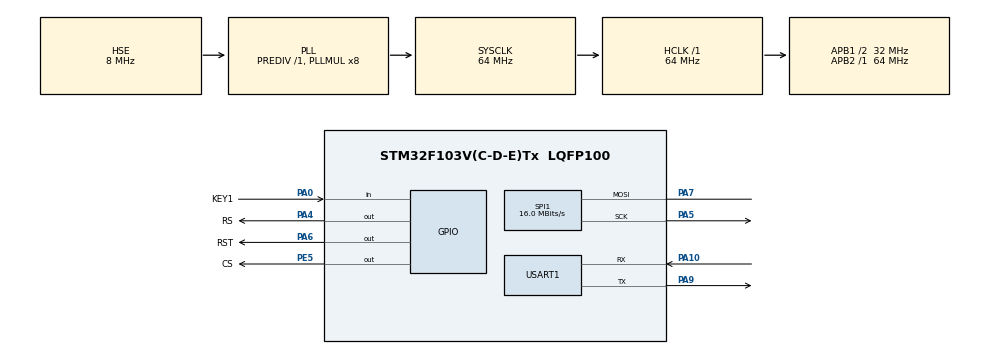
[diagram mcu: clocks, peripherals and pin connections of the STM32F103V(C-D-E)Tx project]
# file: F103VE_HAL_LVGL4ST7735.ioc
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Mcu.Family=STM32F1
RCC.PLLSourceVirtual=RCC_PLLSOURCE_HSE
PA7.Mode=Simplex_Bidirectional_Master
NVIC.DMA1_Channel5_IRQn=true\:0\:0\:false\:false\:true\:false\:true
Dma.USART1_RX.0.PeriphDataAlignment=DMA_PDATAALIGN_BYTE
PA10.Mode=Asynchronous
SPI1.VirtualType=VM_MASTER
PA6.GPIO_Label=RST
RCC.APB1CLKDivider=RCC_HCLK_DIV2
RCC.SYSCLKSource=RCC_SYSCLKSOURCE_PLLCLK
ProjectManager.StackSize=0x800
PA0-WKUP.GPIO_Label=KEY1
PA0-WKUP.Signal=GPIO_Input
PA13.Signal=SYS_JTMS-SWDIO
PA9.Mode=Asynchronous
ProjectManager.TargetToolchain=MDK-ARM V5.27
SPI1.Direction=SPI_DIRECTION_1LINE
Dma.USART1_RX.0.Direction=DMA_PERIPH_TO_MEMORY
RCC.HCLKFreq_Value=64000000
RCC.APB2TimFreq_Value=64000000
PA9.Signal=USART1_TX
SPI1.CalculateBaudRate=16.0 MBits/s
PE5.Signal=GPIO_Output
OSC_IN.Signal=RCC_OSC_IN
RCC.USBFreq_Value=64000000
OSC_OUT.Mode=HSE-External-Oscillator
OSC_OUT.Signal=RCC_OSC_OUT
RCC.AHBFreq_Value=64000000
Dma.USART1_RX.0.PeriphInc=DMA_PINC_DISABLE
Dma.USART1_RX.0.Priority=DMA_PRIORITY_MEDIUM
PA5.Signal=SPI1_SCK
PA4.GPIO_PuPd=GPIO_NOPULL
PB3.Mode=JTAG_5_pins
board=custom
PA15.Mode=JTAG_5_pins
RCC.PLLMUL=RCC_PLL_MUL8
RCC.APB2Freq_Value=64000000
PB4.Mode=JTAG_5_pins
VP_TIM2_VS_ClockSourceINT.Mode=Internal
SPI1.Mode=SPI_MODE_MASTER
PA14.Mode=JTAG_5_pins
NVIC.TIM2_IRQn=true\:0\:0\:false\:false\:true\:true\:true
PA0-WKUP.GPIO_Mode=GPIO_MODE_INPUT
Dma.USART1_RX.0.MemDataAlignment=DMA_MDATAALIGN_BYTE
TIM2.Period=50
Dma.USART1_RX.0.MemInc=DMA_MINC_ENABLE
PA13.Mode=JTAG_5_pins
Mcu.Name=STM32F103V(C-D-E)Tx
PB3.Signal=SYS_JTDO-TRACESWO
PA4.Signal=GPIO_Output
RCC.SYSCLKFreq_VALUE=64000000
Mcu.Package=LQFP100
TIM2.Prescaler=6399
PA6.Signal=GPIO_Output
OSC_IN.Mode=HSE-External-Oscillator
PE5.GPIO_Label=CS
USART1.VirtualMode=VM_ASYNC
PA10.Signal=USART1_RX
PA14.Signal=SYS_JTCK-SWCLK
PA15.Signal=SYS_JTDI
ProjectManager.HeapSize=0x400
PA4.GPIO_ModeDefaultOutputPP=GPIO_MODE_OUTPUT_PP
NVIC.PriorityGroup=NVIC_PRIORITYGROUP_3
RCC.APB1TimFreq_Value=64000000
PA0-WKUP.GPIO_PuPd=GPIO_PULLDOWN
Dma.USART1_RX.0.Mode=DMA_NORMAL
NVIC.USART1_IRQn=true\:2\:0\:true\:false\:true\:true\:true
Dma.Request0=USART1_RX
RCC.APB1Freq_Value=32000000
SPI1.BaudRatePrescaler=SPI_BAUDRATEPRESCALER_4
PA4.GPIO_Label=RS
Dma.USART1_RX.0.Instance=DMA1_Channel5
PB4.Signal=SYS_NJTRST
PA7.Signal=SPI1_MOSI
PA5.Mode=Simplex_Bidirectional_Master

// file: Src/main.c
/* USER CODE BEGIN Header */
/**
  ******************************************************************************
  * @file           : main.c
  * @brief          : Main program body
  ******************************************************************************
  * @attention
  *
  * <h2><center>&copy; Copyright (c) 2021 STMicroelectronics.
  * All rights reserved.</center></h2>
  *
  * This software component is licensed by ST under BSD 3-Clause license,
  * the "License"; You may not use this file except in compliance with the
  * License. You may obtain a copy of the License at:
  *                        opensource.org/licenses/BSD-3-Clause
  *
  ******************************************************************************
  */
/* USER CODE END Header */

#include "main.h"
#include "dma.h"
#include "spi.h"
#include "tim.h"
#include "usart.h"
#include "gpio.h"

/* USER CODE BEGIN Includes */
#include "stdio.h"
#include "st7735.h"
#include "fonts.h"
#include "lvgl.h"
#include "lv_port_disp.h"
#include "lv_port_indev.h"
/* USER CODE END Includes */

/* USER CODE BEGIN PTD */
int fputc(int ch, FILE *f)
{
    HAL_UART_Transmit(&huart1, (uint8_t *)&ch, 1, 0xFFFF);//重定向printf

    return ch;
}
/* USER CODE END PTD */

/* USER CODE BEGIN PD */
#define BUFFER_SIZE 40 //定义缓冲区大小
extern DMA_HandleTypeDef hdma_usart1_rx;
/* USER CODE END PD */

/* USER CODE BEGIN PV */
uint8_t receive_buff[BUFFER_SIZE];
int pointerX,pointerY,pointerCK;
/* USER CODE END PV */

void SystemClock_Config(void);

int main(void)
{

  /* MCU Configuration--------------------------------------------------------*/

  /* Reset of all peripherals, Initializes the Flash interface and the Systick. */
  HAL_Init();

  /* Configure the system clock */
  SystemClock_Config();

  /* Initialize all configured peripherals */
  MX_GPIO_Init();
  MX_DMA_Init();
  MX_SPI1_Init();
  MX_TIM2_Init();
  MX_USART1_UART_Init();
  /* USER CODE BEGIN 2 */
  HAL_TIM_Base_Start_IT(&htim2);//使能定时器中断
  __HAL_UART_ENABLE_IT(&huart1,UART_IT_IDLE);//使能串口空闲IDLE中断
  HAL_UART_Receive_DMA(&huart1, (uint8_t*)receive_buff, BUFFER_SIZE); //设置DMA传输，将串口1的数据搬运到recvive_buff中，每次BUFFER_SIZE个字节

  /***************** LVGL Init ******************/
  lv_init();
  lv_port_disp_init(); //included "ST7735_Init();"
  lv_port_indev_init(); //init ext_input
  /***************** LVGL Init ******************/

  /*************** LVGL USER GUI ****************/
  lv_obj_t * label;
  lv_obj_t * btn1 = lv_btn_create(lv_scr_act(), NULL);
  lv_obj_align(btn1, NULL, LV_ALIGN_CENTER, 0, 0);
  label = lv_label_create(btn1, NULL);
  lv_label_set_text(label, "Button");
  lv_btn_set_checkable(btn1, false);
  lv_task_handler();
  /*************** LVGL USER GUI ****************/

  /* USER CODE END 2 */

  /* Infinite loop */
  while (1)
  {

    /* USER CODE BEGIN 3 */

    //HAL_Delay(1000);

  }
  /* USER CODE END 3 */
}

void SystemClock_Config(void)
{
  RCC_OscInitTypeDef RCC_OscInitStruct = {0};
  RCC_ClkInitTypeDef RCC_ClkInitStruct = {0};

  /** Initializes the CPU, AHB and APB busses clocks
  */
  RCC_OscInitStruct.OscillatorType = RCC_OSCILLATORTYPE_HSE;
  RCC_OscInitStruct.HSEState = RCC_HSE_ON;
  RCC_OscInitStruct.HSEPredivValue = RCC_HSE_PREDIV_DIV1;
  RCC_OscInitStruct.HSIState = RCC_HSI_ON;
  RCC_OscInitStruct.PLL.PLLState = RCC_PLL_ON;
  RCC_OscInitStruct.PLL.PLLSource = RCC_PLLSOURCE_HSE;
  RCC_OscInitStruct.PLL.PLLMUL = RCC_PLL_MUL8;
  if (HAL_RCC_OscConfig(&RCC_OscInitStruct) != HAL_OK)
  {
    Error_Handler();
  }
  /** Initializes the CPU, AHB and APB busses clocks
  */
  RCC_ClkInitStruct.ClockType = RCC_CLOCKTYPE_HCLK|RCC_CLOCKTYPE_SYSCLK
                              |RCC_CLOCKTYPE_PCLK1|RCC_CLOCKTYPE_PCLK2;
  RCC_ClkInitStruct.SYSCLKSource = RCC_SYSCLKSOURCE_PLLCLK;
  RCC_ClkInitStruct.AHBCLKDivider = RCC_SYSCLK_DIV1;
  RCC_ClkInitStruct.APB1CLKDivider = RCC_HCLK_DIV2;
  RCC_ClkInitStruct.APB2CLKDivider = RCC_HCLK_DIV1;

  if (HAL_RCC_ClockConfig(&RCC_ClkInitStruct, FLASH_LATENCY_2) != HAL_OK)
  {
    Error_Handler();
  }
}

/* USER CODE BEGIN 4 */

void USAR_UART_IDLECallback(UART_HandleTypeDef *huart)
{
    // 停止本次DMA传输
    HAL_UART_DMAStop(&huart1);

    // 计算接收到的数据长度
    uint8_t data_length  = BUFFER_SIZE - __HAL_DMA_GET_COUNTER(&hdma_usart1_rx);

    // 测试函数：将接收到的数据打印出去
    //printf("Receive Data(length = %d): ",data_length);
    //HAL_UART_Transmit(&huart1,receive_buff,data_length,0x200);
    //printf("\r\n");

    // DMA到鼠标变量
    uint8_t xc[4],yc[4];
    xc[0] = receive_buff[2];
    xc[1] = receive_buff[3];
    xc[2] = receive_buff[4];

    yc[0] = receive_buff[8];
    yc[1] = receive_buff[9];
    yc[2] = receive_buff[10];

    // 转换并存入全局变量，定值xxx为0开头自动去掉
    pointerX = atoi(xc);
    pointerY = atoi(yc);

    if(receive_buff[12] == '1') {pointerCK=1;} else {pointerCK=0;}
    //printf("X=%d,Y=%d,CK=%d\r\n",pointerX,pointerY,pointerCK);  //测试接口，已完成目标2021.8.14

    // 清零接收缓冲区
    memset(receive_buff,0,data_length);
    data_length = 0;

    // 重启开始DMA传输 每次BUFFER_SIZE字节数据
    HAL_UART_Receive_DMA(&huart1, (uint8_t*)receive_buff, BUFFER_SIZE);
}

/* USER CODE END 4 */

void Error_Handler(void)
{
}

/************************ (C) COPYRIGHT STMicroelectronics *****END OF FILE****/
